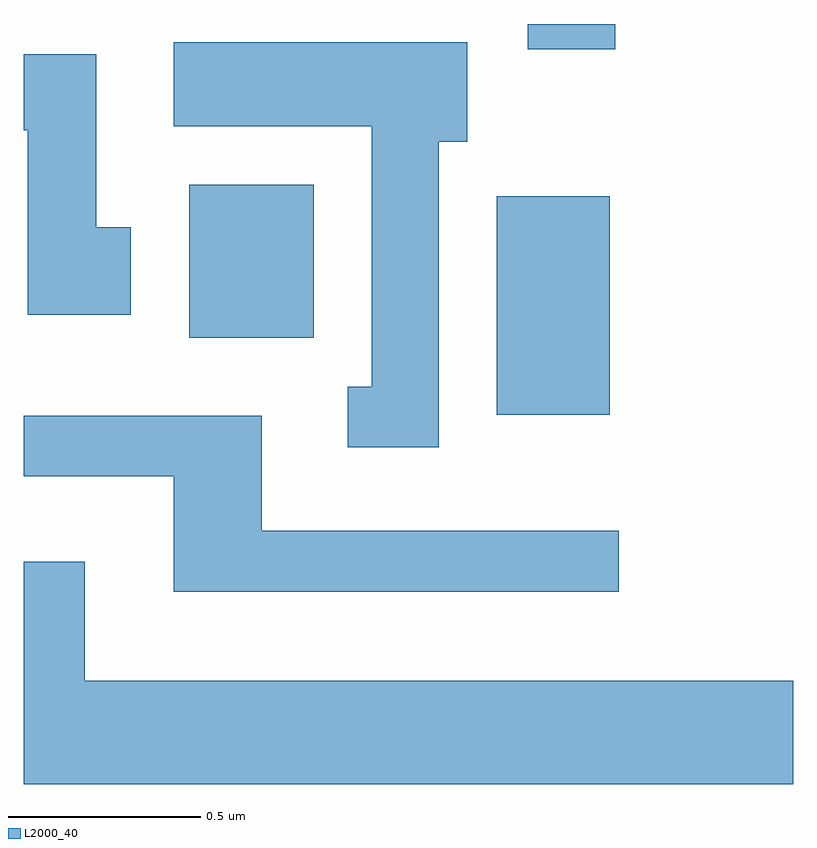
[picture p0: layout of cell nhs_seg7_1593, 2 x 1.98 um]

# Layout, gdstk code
import gdstk
lib = gdstk.Library(unit=1e-6, precision=1e-09)
def R(c, l, rs):  # rectangles x0, y0, x1, y1
    for r in rs: c.add(gdstk.rectangle(r[:2], r[2:], *l))
def P(c, l, *ps):  # polygons
    for p in ps: c.add(gdstk.Polygon(p, *l))
L2000_40 = (2000, 40)

nhs_seg7_1593 = lib.new_cell('nhs_seg7_1593')
R(nhs_seg7_1593, L2000_40, [(197.841,1755.236,198.134,1755.804), (197.041,1755.436,197.364,1755.834), (197.921,1756.186,198.149,1756.252)])
P(nhs_seg7_1593, L2000_40, [(197.689,1755.946),(197.764,1755.946),(197.764,1756.204),(197.001,1756.204),(197.001,1755.986),(197.516,1755.986),(197.516,1755.309),(197.453,1755.309),(197.453,1755.151),(197.689,1755.151)],
  [(196.889,1755.724),(196.799,1755.724),(196.799,1756.174),(196.611,1756.174),(196.611,1755.976),(196.621,1755.976),(196.621,1755.496),(196.889,1755.496)],
  [(198.158,1754.934),(197.229,1754.934),(197.229,1755.234),(196.611,1755.234),(196.611,1755.076),(197.001,1755.076),(197.001,1754.776),(198.158,1754.776)],
  [(198.611,1754.544),(196.769,1754.544),(196.769,1754.854),(196.611,1754.854),(196.611,1754.276),(198.611,1754.276)])

lib.write_gds('nhs_seg7_1593.gds')
